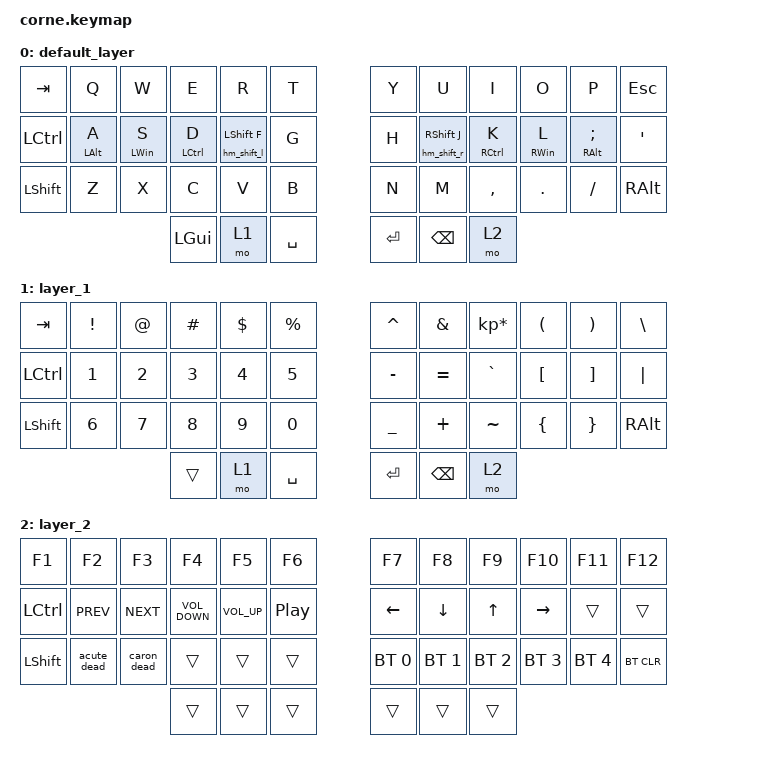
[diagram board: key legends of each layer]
/*
 * Copyright (c) 2020 The ZMK Contributors
 *
 * SPDX-License-Identifier: MIT
 */

#include <behaviors.dtsi>
#include <dt-bindings/zmk/bt.h>
#include <dt-bindings/zmk/keys.h>

#include "includes/settings.dtsi"
#include "includes/behaviors_homerow_mods.dtsi"

/ {
    behaviors {
        acute_dead: acute_dead {
            compatible = "zmk,behavior-mod-morph";
            bindings = <&kp GRAVE>, <&kp APOS>;

            #binding-cells = <0>;
            mods = <(MOD_LSFT|MOD_RSFT)>;
        };

        caron_dead: caron_dead {
            compatible = "zmk,behavior-mod-morph";
            bindings = <&kp TILDE>, <&kp CARET>;

            #binding-cells = <0>;
            mods = <(MOD_LSFT|MOD_RSFT)>;
        };
    };

    keymap {
        compatible = "zmk,keymap";

        default_layer {
            // -----------------------------------------------------------------------------------------
            // |  TAB |  Q  |  W  |  E  |  R  |  T  |   |  Y  |  U   |  I  |  O  |  P  | BKSP |
            // | CTRL |  A  |  S  |  D  |  F  |  G  |   |  H  |  J   |  K  |  L  |  ;  |  '   |
            // | SHFT |  Z  |  X  |  C  |  V  |  B  |   |  N  |  M   |  ,  |  .  |  /  | ESC  |
            //                    | GUI | LWR | SPC |   | ENT | RSE  | ALT |

            bindings = <
&kp TAB     &kp Q           &kp W           &kp E               &kp R             &kp T        &kp Y    &kp U              &kp I        &kp O            &kp P               &kp ESCAPE
&kp LCTRL   &hm_l LEFT_ALT A  &hm_l LEFT_WIN S  &hm_l LEFT_CONTROL D  &hm_shift_l LEFT_SHIFT F  &kp G        &kp H    &hm_shift_r  RIGHT_SHIFT J  &hm_r RCTRL K  &hm_r RIGHT_WIN L  &hm_r RIGHT_ALT SEMI  &kp SQT
&kp LSHIFT  &kp Z           &kp X           &kp C               &kp V             &kp B        &kp N    &kp M              &kp COMMA    &kp DOT          &kp FSLH            &kp RIGHT_ALT
                                            &kp LGUI            &mo 1             &kp SPACE    &kp RET  &kp BACKSPACE      &mo 2
            >;
        };

        layer_1 {
            bindings = <
&kp TAB         &kp EXCL  &kp AT  &kp HASH  &kp DOLLAR  &kp PERCENT    &kp CARET       &kp AMPERSAND  &kp KP_MULTIPLY  &kp LEFT_PARENTHESIS  &kp RIGHT_PARENTHESIS  &kp BSLH
&kp LCTRL       &kp N1    &kp N2  &kp N3    &kp N4      &kp N5         &kp MINUS       &kp EQUAL      &kp GRAVE        &kp LEFT_BRACKET      &kp RIGHT_BRACKET      &kp PIPE
&kp LEFT_SHIFT  &kp N6    &kp N7  &kp N8    &kp N9      &kp N0         &kp UNDERSCORE  &kp PLUS       &kp TILDE        &kp LEFT_BRACE        &kp RIGHT_BRACE        &kp RALT
                                  &trans    &mo 1       &kp SPACE      &kp RET         &kp BSPC       &mo 2
            >;
        };

        layer_2 {
            bindings = <
&kp F1            &kp F2       &kp F3       &kp F4             &kp F5           &kp F6              &kp F7        &kp F8        &kp F9        &kp F10       &kp F11       &kp F12
&kp LEFT_CONTROL  &kp C_PREV   &kp C_NEXT   &kp C_VOLUME_DOWN  &kp C_VOLUME_UP  &kp C_PLAY_PAUSE    &kp LEFT      &kp DOWN      &kp UP        &kp RIGHT     &trans        &trans
&kp LEFT_SHIFT    &acute_dead  &caron_dead  &trans             &trans           &trans              &bt BT_SEL 0  &bt BT_SEL 1  &bt BT_SEL 2  &bt BT_SEL 3  &bt BT_SEL 4  &bt BT_CLR
                                            &trans             &trans           &trans              &trans        &trans        &trans
            >;
        };
    };
};
